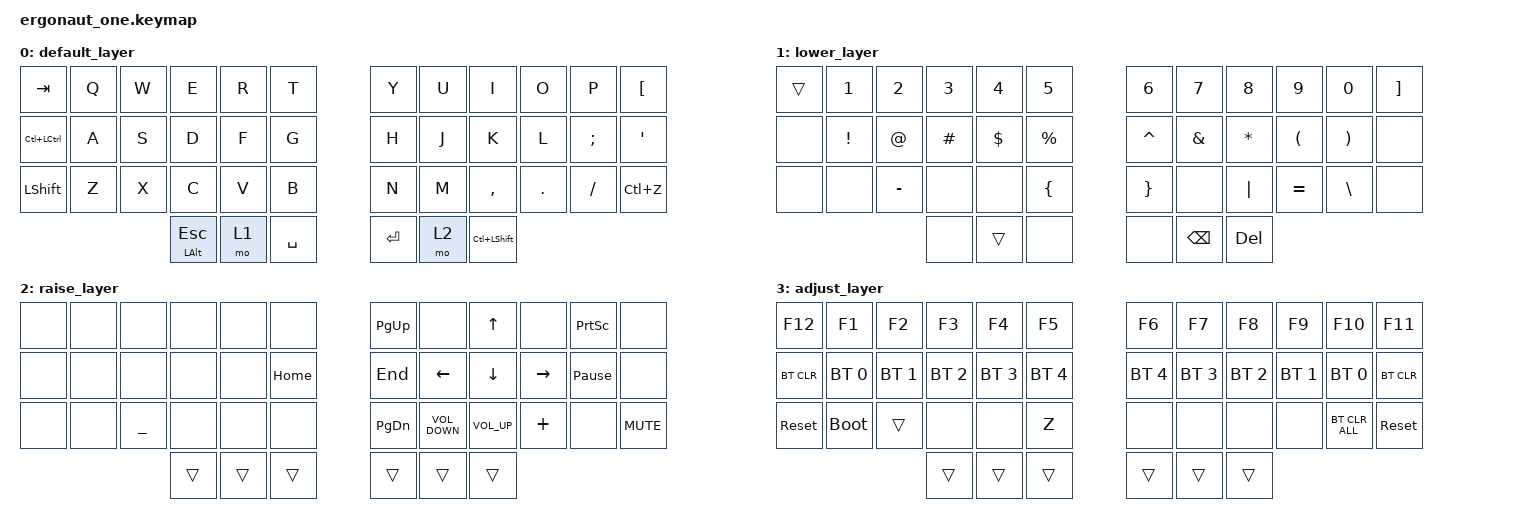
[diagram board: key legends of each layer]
#include <behaviors.dtsi>
#include <dt-bindings/zmk/bt.h>
#include <dt-bindings/zmk/keys.h>

#define DEF 0
#define LWR 1
#define RSE 2
#define ADJ 3

&lt { quick-tap-ms = <200>; };

&mt { quick-tap-ms = <200>; };

/ {
    conditional_layers {
        compatible = "zmk,conditional-layers";

        tri-layer {
            if-layers = <1 2>;
            then-layer = <3>;
        };
    };

    keymap {
        compatible = "zmk,keymap";

        default_layer {
            bindings = <
&kp TAB               &kp Q  &kp W  &kp E                &kp R  &kp T      &kp Y      &kp U  &kp I               &kp O    &kp P     &kp LBKT
&kp LC(LEFT_CONTROL)  &kp A  &kp S  &kp D                &kp F  &kp G      &kp H      &kp J  &kp K               &kp L    &kp SEMI  &kp SQT
&kp LSHFT             &kp Z  &kp X  &kp C                &kp V  &kp B      &kp N      &kp M  &kp COMMA           &kp DOT  &kp FSLH  &kp LC(Z)
                                    &mt LEFT_ALT ESCAPE  &mo 1  &kp SPACE  &kp ENTER  &mo 2  &kp LC(LEFT_SHIFT)
            >;
        };

        lower_layer {
            bindings = <
&trans  &kp N1    &kp N2     &kp N3    &kp N4    &kp N5          &kp N6           &kp N7    &kp N8      &kp N9     &kp N0    &kp RBKT
&none   &kp EXCL  &kp AT     &kp HASH  &kp DLLR  &kp PRCNT       &kp CARET        &kp AMPS  &kp STAR    &kp LPAR   &kp RPAR  &none
&none   &none     &kp MINUS  &none     &none     &kp LEFT_BRACE  &kp RIGHT_BRACE  &none     &kp PIPE    &kp EQUAL  &kp BSLH  &none
                             &none     &trans    &none           &none            &kp BSPC  &kp DELETE
            >;
        };

        raise_layer {
            bindings = <
&none  &none  &none           &none   &none   &none     &kp PAGE_UP    &none              &kp UP_ARROW    &none      &kp PRINTSCREEN  &none
&none  &none  &none           &none   &none   &kp HOME  &kp END        &kp LEFT_ARROW     &kp DOWN_ARROW  &kp RIGHT  &kp PAUSE_BREAK  &none
&none  &none  &kp UNDERSCORE  &none   &none   &none     &kp PAGE_DOWN  &kp C_VOLUME_DOWN  &kp C_VOL_UP    &kp PLUS   &none            &kp K_MUTE
                              &trans  &trans  &trans    &trans         &trans             &trans
            >;
        };

        adjust_layer {
            bindings = <
&kp F12     &kp F1        &kp F2        &kp F3        &kp F4        &kp F5        &kp F6        &kp F7        &kp F8        &kp F9        &kp F10         &kp F11
&bt BT_CLR  &bt BT_SEL 0  &bt BT_SEL 1  &bt BT_SEL 2  &bt BT_SEL 3  &bt BT_SEL 4  &bt BT_SEL 4  &bt BT_SEL 3  &bt BT_SEL 2  &bt BT_SEL 1  &bt BT_SEL 0    &bt BT_CLR
&sys_reset  &bootloader   &trans        &none         &none         &kp Z         &none         &none         &none         &none         &bt BT_CLR_ALL  &sys_reset
                                        &trans        &trans        &trans        &trans        &trans        &trans
            >;
        };
    };
};
